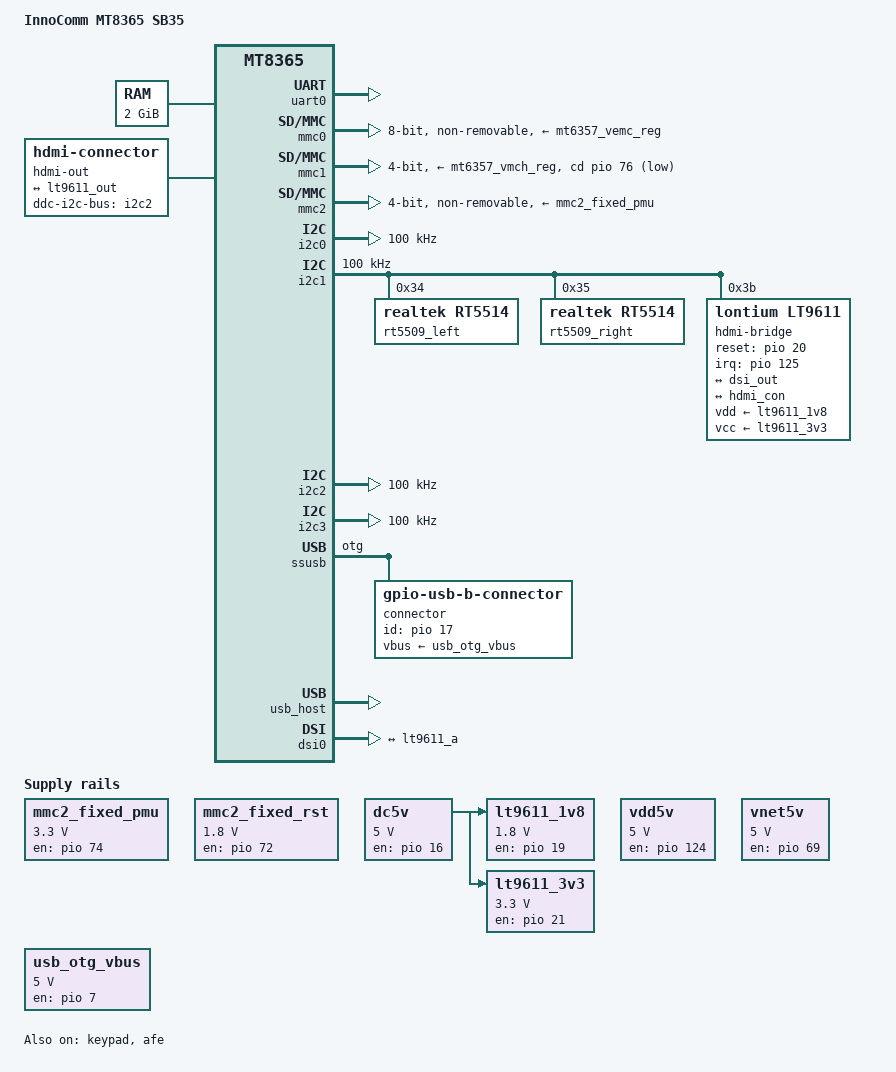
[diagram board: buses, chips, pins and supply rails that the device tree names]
// SPDX-License-Identifier: GPL-2.0
/*
 * Copyright (c) 2020 BayLibre, SAS.
 * Author: Fabien Parent <fparent@baylibre.com>
 */

/dts-v1/;

#include <dt-bindings/gpio/gpio.h>
#include <dt-bindings/input/input.h>
#include <dt-bindings/pinctrl/mt8365-pinfunc.h>
#include "mt8365.dtsi"
#include "mt6357.dtsi"

/ {
	model = "InnoComm MT8365 SB35";
	compatible = "innocomm,sb35", "mediatek,mt8365";

	aliases {
		serial0 = &uart0;
		mmc0 = &mmc0;
		mmc1 = &mmc1;
		mmc2 = &mmc2;
		ethernet0 = &bluetooth;
	};

	memory@40000000 {
		device_type = "memory";
		reg = <0 0x40000000 0 0x80000000>;
	};

	chosen {
		stdout-path = "serial0:921600n8";
	};

	firmware {
		optee {
			compatible = "linaro,optee-tz";
			method = "smc";
		};
	};

	mmc2_fixed_pmu: regulator@0 {
		compatible = "regulator-fixed";
		regulator-name = "mmc2_pmu";
		regulator-min-microvolt = <3300000>;
		regulator-max-microvolt = <3300000>;
		gpio = <&pio 74 0>;
		enable-active-high;
	};

	mmc2_fixed_rst: regulator@1 {
		compatible = "regulator-fixed";
		regulator-name = "mmc2_rst";
		regulator-min-microvolt = <1800000>;
		regulator-max-microvolt = <1800000>;
		gpio = <&pio 72 0>;
		enable-active-high;
	};

	sound: sound {
		compatible = "mediatek,mt8365-sb35";
		mediatek,platform = <&afe>;
		pinctrl-names = "aud_mosi_on",
			"aud_mosi_off",
			"aud_miso_on",
			"aud_miso_off",
			"default",
			"aud_dmic";
		pinctrl-0 = <&aud_pins_mosi_on>;
		pinctrl-1 = <&aud_pins_mosi_off>;
		pinctrl-2 = <&aud_pins_miso_on>;
		pinctrl-3 = <&aud_pins_miso_off>;
		pinctrl-4 = <&aud_pins_default>;
		pinctrl-5 = <&aud_pins_dmic>;
		status = "okay";
	};

	reserved-memory {
		#address-cells = <2>;
		#size-cells = <2>;
		ranges;

		/* 12 MiB reserved for OP-TEE (BL32)
		 * +-----------------------+ 0x43e0_0000
		 * |      SHMEM 2MiB       |
		 * +-----------------------+ 0x43c0_0000
		 * |        | TA_RAM  8MiB |
		 * + TZDRAM +--------------+ 0x4340_0000
		 * |        | TEE_RAM 2MiB |
		 * +-----------------------+ 0x4320_0000
		 */
		optee_reserved: optee@43200000 {
			no-map;
			reg = <0 0x43200000 0 0x00c00000>;
		};
	};

	dc5v: dc5v-regulator {
		compatible = "regulator-fixed";
		regulator-name = "DC5V";
		regulator-min-microvolt = <5000000>;
		regulator-max-microvolt = <5000000>;
		gpio = <&pio 16 GPIO_ACTIVE_HIGH>;
		enable-active-high;
		regulator-always-on;
	};

	vdd5v: vdd5v-regulator {
		compatible = "regulator-fixed";
		regulator-name = "VDD5V";
		regulator-min-microvolt = <5000000>;
		regulator-max-microvolt = <5000000>;
		gpio = <&pio 124 GPIO_ACTIVE_HIGH>;
		enable-active-high;
		regulator-always-on;
	};

	vnet5v: vnet5v-regulator {
		compatible = "regulator-fixed";
		regulator-name = "VNET5V";
		regulator-min-microvolt = <5000000>;
		regulator-max-microvolt = <5000000>;
		gpio = <&pio 69 GPIO_ACTIVE_HIGH>;
		enable-active-high;
		regulator-always-on;
	};

	usb_otg_vbus: usb-otg-vbus-regulator {
		compatible = "regulator-fixed";
		regulator-name = "otg_vbus";
		regulator-min-microvolt = <5000000>;
		regulator-max-microvolt = <5000000>;
		gpio = <&pio 7 GPIO_ACTIVE_HIGH>;
		enable-active-high;
	};

	lt9611_1v8: lt9611-vdd18-regulator {
		compatible = "regulator-fixed";
		regulator-name = "LT9611_1V8";

		vin-supply = <&dc5v>;
		regulator-min-microvolt = <1800000>;
		regulator-max-microvolt = <1800000>;

		gpio = <&pio 19 GPIO_ACTIVE_HIGH>;
		enable-active-high;
	};

	lt9611_3v3: lt9611-3v3 {
		compatible = "regulator-fixed";
		regulator-name = "LT9611_3V3";

		vin-supply = <&dc5v>;
		regulator-min-microvolt = <3300000>;
		regulator-max-microvolt = <3300000>;

		gpio = <&pio 21 GPIO_ACTIVE_HIGH>;
		enable-active-high;
	};

	hdmi-out {
		compatible = "hdmi-connector";
		type = "a";
		ddc-i2c-bus = <&i2c2>;

		port {
			hdmi_con: endpoint {
				remote-endpoint = <&lt9611_out>;
			};
		};
	};
};

&mt6357codec {
	use_hp_depop_flow = <0>; /* select 1: use, 0: not use */
	use_ul_260k = <0>; /* select 1: use, 0: not use */
};

&mt6357_pmic {
	interrupt-parent = <&pio>;
	interrupts = <145 IRQ_TYPE_LEVEL_HIGH>;
	interrupt-controller;
	#interrupt-cells = <2>;
};

&cpu0 {
	proc-supply = <&mt6357_vproc_reg>;
	sram-supply = <&mt6357_vsram_proc_reg>;
};

&cpu1 {
	proc-supply = <&mt6357_vproc_reg>;
	sram-supply = <&mt6357_vsram_proc_reg>;
};

&cpu2 {
	proc-supply = <&mt6357_vproc_reg>;
	sram-supply = <&mt6357_vsram_proc_reg>;
};

&cpu3 {
	proc-supply = <&mt6357_vproc_reg>;
	sram-supply = <&mt6357_vsram_proc_reg>;
};

&mt6357_vrf12_reg {
	regulator-always-on;
};

&mt6357_vaud28_reg {
	regulator-always-on;
};

/* Needed by MSDC1 */
&mt6357_vmc_reg {
	regulator-always-on;
};

&uart0 {
	status = "okay";
};

&mmc0 {
	status = "okay";
	pinctrl-names = "default", "state_uhs";
	pinctrl-0 = <&mmc0_pins_default>;
	pinctrl-1 = <&mmc0_pins_uhs>;
	bus-width = <8>;
	max-frequency = <200000000>;
	cap-mmc-highspeed;
	mmc-hs200-1_8v;
	mmc-hs400-1_8v;
	cap-mmc-hw-reset;
	no-sdio;
	no-sd;
	hs400-ds-delay = <0x12012>;
	vmmc-supply = <&mt6357_vemc_reg>;
	vqmmc-supply = <&mt6357_vio18_reg>;
	assigned-clocks = <&topckgen CLK_TOP_MSDC50_0_SEL>;
	assigned-clock-parents = <&topckgen CLK_TOP_MSDCPLL>;
	non-removable;
};

&mmc1 {
	pinctrl-names = "default", "state_uhs";
	pinctrl-0 = <&mmc1_pins_default>;
	pinctrl-1 = <&mmc1_pins_uhs>;
	cd-gpios = <&pio 76 GPIO_ACTIVE_LOW>;
	bus-width = <4>;
	max-frequency = <200000000>;
	cap-sd-highspeed;
	sd-uhs-sdr50;
	sd-uhs-sdr104;
	vmmc-supply = <&mt6357_vmch_reg>;
	vqmmc-supply = <&mt6357_vio18_reg>;
	status = "okay";
};

&mmc2 {
	pinctrl-names = "default", "state_uhs";
	pinctrl-0 = <&mmc2_pins_default>;
	pinctrl-1 = <&mmc2_pins_uhs>;
	bus-width = <4>;
	max-frequency = <200000000>;
	cap-sd-highspeed;
	sd-uhs-sdr25;
	sd-uhs-sdr50;
	sd-uhs-sdr104;
	keep-power-in-suspend;
	enable-sdio-wakeup;
	cap-sdio-irq;
	hs400-ds-delay = <0x12012>;
	vmmc-supply = <&mmc2_fixed_pmu>;
	vqmmc-supply = <&mmc2_fixed_rst>;
	assigned-clocks = <&topckgen CLK_TOP_MSDC50_2_SEL>;
	assigned-clock-parents = <&topckgen CLK_TOP_MSDCPLL>;
	non-removable;
	status = "okay";

	bluetooth: mt7663-bt {
		mac-address = [00 00 00 00 00 00];
		reg = <2>;
	};
};

&i2c0 {
	pinctrl-names = "default";
	pinctrl-0 = <&i2c0_pins>;
	clock-frequency = <100000>;
	#address-cells = <1>;
	#size-cells = <0>;
	status = "okay";
};

&i2c1 {
	pinctrl-names = "default";
	pinctrl-0 = <&i2c1_pins>;
	clock-frequency = <100000>;
	status = "okay";

	rt5509_left: codec@34 {
		compatible = "realtek,rt5514";
		reg = <0x34>;
	};

	rt5509_right: codec@35 {
		compatible = "realtek,rt5514";
		reg = <0x35>;
	};

	hdmi-bridge@3b {
		compatible = "lontium,lt9611";
		reg = <0x3b>;
		pinctrl-0 = <&hdmi_pins>;
		pintctrl-names = "default";

		reset-gpios = <&pio 20 GPIO_ACTIVE_HIGH>;
		interrupts-extended = <&pio 125 IRQ_TYPE_EDGE_FALLING>;

		vdd-supply = <&lt9611_1v8>;
		vcc-supply = <&lt9611_3v3>;

		ports {
			port@0 {
				reg = <0>;
				lt9611_a: endpoint {
					remote-endpoint = <&dsi_out>;
				};
			};

			port@2 {
				reg = <2>;
				lt9611_out: endpoint {
					remote-endpoint = <&hdmi_con>;
				};
			};
		};
	};
};

&i2c2 {
	pinctrl-names = "default";
	pinctrl-0 = <&i2c2_pins>;
	clock-frequency = <100000>;
	status = "okay";
};

&i2c3 {
	pinctrl-names = "default";
	pinctrl-0 = <&i2c3_pins>;
	clock-frequency = <100000>;
	status = "okay";
};

&ssusb {
	pinctrl-0 = <&usb_pins>;
	pinctrl-names = "default";
	maximum-speed = "high-speed";
	usb-role-switch;
	dr_mode = "otg";
	vusb33-supply = <&mt6357_vusb33_reg>;
	status = "okay";

	connector {
		compatible = "gpio-usb-b-connector", "usb-b-connector";
		type = "micro";
		id-gpios = <&pio 17 GPIO_ACTIVE_HIGH>;
		vbus-supply = <&usb_otg_vbus>;
	};
};

&usb_host {
	vusb33-supply = <&mt6357_vusb33_reg>;
	status = "okay";
};

&keypad {
	pinctrl-names = "default";
	pinctrl-0 = <&keypad_pins>;
	mediatek,debounce-us = <32000>;
	keypad,num-rows = <2>;
	keypad,num-columns = <2>;
	linux,keymap = <MATRIX_KEY(0x00, 0x00, KEY_VOLUMEDOWN)
			MATRIX_KEY(0x01, 0x00, KEY_VOLUMEUP)
			MATRIX_KEY(0x00, 0x01, KEY_BACK)
			MATRIX_KEY(0x01, 0x01, KEY_MENU)>;
	status = "okay";
};

&dsi0 {
	status = "okay";
	#address-cells = <1>;
	#size-cells = <0>;

	ports {
		port@0 {
			reg = <0>;

			dsi_out: endpoint {
				remote-endpoint = <&lt9611_a>;
				data-lanes = <0 1 2 3>;
			};
		};
	};
};

&pio {
	mmc0_pins_default: mmc0default {
		pins_cmd_dat {
			pinmux = <MT8365_PIN_103_MSDC0_DAT0__FUNC_MSDC0_DAT0>,
				 <MT8365_PIN_102_MSDC0_DAT1__FUNC_MSDC0_DAT1>,
				 <MT8365_PIN_101_MSDC0_DAT2__FUNC_MSDC0_DAT2>,
				 <MT8365_PIN_100_MSDC0_DAT3__FUNC_MSDC0_DAT3>,
				 <MT8365_PIN_96_MSDC0_DAT4__FUNC_MSDC0_DAT4>,
				 <MT8365_PIN_95_MSDC0_DAT5__FUNC_MSDC0_DAT5>,
				 <MT8365_PIN_94_MSDC0_DAT6__FUNC_MSDC0_DAT6>,
				 <MT8365_PIN_93_MSDC0_DAT7__FUNC_MSDC0_DAT7>,
				 <MT8365_PIN_98_MSDC0_CMD__FUNC_MSDC0_CMD>;
			input-enable;
			bias-pull-up;
		};

		pins_clk {
			pinmux = <MT8365_PIN_99_MSDC0_CLK__FUNC_MSDC0_CLK>;
			bias-pull-down;
		};

		pins_rst {
			pinmux = <MT8365_PIN_97_MSDC0_RSTB__FUNC_MSDC0_RSTB>;
			bias-pull-up;
		};
	};

	mmc0_pins_uhs: mmc0@0{
		pins_cmd_dat {
			pinmux = <MT8365_PIN_103_MSDC0_DAT0__FUNC_MSDC0_DAT0>,
				 <MT8365_PIN_102_MSDC0_DAT1__FUNC_MSDC0_DAT1>,
				 <MT8365_PIN_101_MSDC0_DAT2__FUNC_MSDC0_DAT2>,
				 <MT8365_PIN_100_MSDC0_DAT3__FUNC_MSDC0_DAT3>,
				 <MT8365_PIN_96_MSDC0_DAT4__FUNC_MSDC0_DAT4>,
				 <MT8365_PIN_95_MSDC0_DAT5__FUNC_MSDC0_DAT5>,
				 <MT8365_PIN_94_MSDC0_DAT6__FUNC_MSDC0_DAT6>,
				 <MT8365_PIN_93_MSDC0_DAT7__FUNC_MSDC0_DAT7>,
				 <MT8365_PIN_98_MSDC0_CMD__FUNC_MSDC0_CMD>;
			input-enable;
			drive-strength = <MTK_DRIVE_10mA>;
			bias-pull-up = <MTK_PUPD_SET_R1R0_01>;
		};

		pins_clk {
			pinmux = <MT8365_PIN_99_MSDC0_CLK__FUNC_MSDC0_CLK>;
			drive-strength = <MTK_DRIVE_10mA>;
			bias-pull-down = <MTK_PUPD_SET_R1R0_10>;
		};

		pins_ds {
			pinmux = <MT8365_PIN_104_MSDC0_DSL__FUNC_MSDC0_DSL>;
			drive-strength = <MTK_DRIVE_10mA>;
			bias-pull-down = <MTK_PUPD_SET_R1R0_10>;
		};

		pins_rst {
			pinmux = <MT8365_PIN_97_MSDC0_RSTB__FUNC_MSDC0_RSTB>;
			drive-strength = <MTK_DRIVE_10mA>;
			bias-pull-up;
		};
	};

	mmc1_pins_default: mmc1default {
		pins_cmd_dat {
			pinmux = <MT8365_PIN_89_MSDC1_DAT0__FUNC_MSDC1_DAT0>,
				 <MT8365_PIN_90_MSDC1_DAT1__FUNC_MSDC1_DAT1>,
				 <MT8365_PIN_91_MSDC1_DAT2__FUNC_MSDC1_DAT2>,
				 <MT8365_PIN_92_MSDC1_DAT3__FUNC_MSDC1_DAT3>,
				 <MT8365_PIN_87_MSDC1_CMD__FUNC_MSDC1_CMD>;
			input-enable;
			bias-pull-up = <MTK_PUPD_SET_R1R0_01>;
		};

		pins_clk {
			pinmux = <MT8365_PIN_88_MSDC1_CLK__FUNC_MSDC1_CLK>;
			bias-pull-down = <MTK_PUPD_SET_R1R0_10>;
		};

		pin_cd {
			pinmux = <MT8365_PIN_76_CMDAT8__FUNC_GPIO76>;
			bias-pull-up;
		};
	};

	mmc1_pins_uhs: mmc1@0 {
		pins_cmd_dat {
			pinmux = <MT8365_PIN_89_MSDC1_DAT0__FUNC_MSDC1_DAT0>,
				 <MT8365_PIN_90_MSDC1_DAT1__FUNC_MSDC1_DAT1>,
				 <MT8365_PIN_91_MSDC1_DAT2__FUNC_MSDC1_DAT2>,
				 <MT8365_PIN_92_MSDC1_DAT3__FUNC_MSDC1_DAT3>,
				 <MT8365_PIN_87_MSDC1_CMD__FUNC_MSDC1_CMD>;
			input-enable;
			drive-strength = <MTK_DRIVE_6mA>;
			bias-pull-up = <MTK_PUPD_SET_R1R0_01>;
		};

		pins_clk {
			pinmux = <MT8365_PIN_88_MSDC1_CLK__FUNC_MSDC1_CLK>;
			drive-strength = <MTK_DRIVE_8mA>;
			bias-pull-down = <MTK_PUPD_SET_R1R0_10>;
		};
	};

	mmc2_pins_default: mmc2default {
		pins_cmd_dat {
			pinmux = <MT8365_PIN_82_MSDC2_DAT0__FUNC_MSDC2_DAT0>,
				 <MT8365_PIN_83_MSDC2_DAT1__FUNC_MSDC2_DAT1>,
				 <MT8365_PIN_84_MSDC2_DAT2__FUNC_MSDC2_DAT2>,
				 <MT8365_PIN_85_MSDC2_DAT3__FUNC_MSDC2_DAT3>,
				 <MT8365_PIN_80_MSDC2_CMD__FUNC_MSDC2_CMD>;
			input-enable;
			drive-strength = <MTK_DRIVE_4mA>;
			bias-pull-up = <MTK_PUPD_SET_R1R0_01>;
		};

		pins_clk {
			pinmux = <MT8365_PIN_81_MSDC2_CLK__FUNC_MSDC2_CLK>;
			drive-strength = <MTK_DRIVE_4mA>;
			bias-pull-down = <MTK_PUPD_SET_R1R0_10>;
		};

		pins_wifi_pwr_en {
			pinmux = <MT8365_PIN_74_CMDAT6__FUNC_GPIO74>;
			output-high;
		};

		pins_sysrstb_en {
			pinmux = <MT8365_PIN_72_CMDAT4__FUNC_GPIO72>;
			output-low;
		};
	};

	mmc2_pins_uhs: mmc2@0 {
		pins_cmd_dat {
			pinmux = <MT8365_PIN_82_MSDC2_DAT0__FUNC_MSDC2_DAT0>,
				 <MT8365_PIN_83_MSDC2_DAT1__FUNC_MSDC2_DAT1>,
				 <MT8365_PIN_84_MSDC2_DAT2__FUNC_MSDC2_DAT2>,
				 <MT8365_PIN_85_MSDC2_DAT3__FUNC_MSDC2_DAT3>,
				 <MT8365_PIN_80_MSDC2_CMD__FUNC_MSDC2_CMD>;
			input-enable;
			drive-strength = <MTK_DRIVE_8mA>;
			bias-pull-up = <MTK_PUPD_SET_R1R0_01>;
		};

		pin_clk {
			pinmux = <MT8365_PIN_81_MSDC2_CLK__FUNC_MSDC2_CLK>;
			drive-strength = <MTK_DRIVE_8mA>;
			bias-pull-down = <MTK_PUPD_SET_R1R0_10>;
		};

		pin_ds {
			pinmux = <MT8365_PIN_86_MSDC2_DSL__FUNC_MSDC2_DSL>;
			drive-strength = <MTK_DRIVE_8mA>;
			bias-pull-down = <MTK_PUPD_SET_R1R0_10>;
		};

		pins_wifi_pwr_en {
			pinmux = <MT8365_PIN_74_CMDAT6__FUNC_GPIO74>;
			output-high;
		};

		pins_sysrstb_en {
			pinmux = <MT8365_PIN_72_CMDAT4__FUNC_GPIO72>;
			output-high;
		};
	};

	i2c0_pins: i2c0 {
		pins_i2c {
			pinmux = <MT8365_PIN_57_SDA0__FUNC_SDA0_0>,
				 <MT8365_PIN_58_SCL0__FUNC_SCL0_0>;
			mediatek,pull-up-adv = <3>;
			mediatek,drive-strength-adv = <7>;
		};
	};


	i2c1_pins: i2c1 {
		pins_i2c {
			pinmux = <MT8365_PIN_59_SDA1__FUNC_SDA1_0>,
				 <MT8365_PIN_60_SCL1__FUNC_SCL1_0>;
			//mediatek,pull-up-adv = <3>;
			//mediatek,drive-strength-adv = <00>;
			bias-pull-up;
		};
	};

	i2c2_pins: i2c2 {
		pins_i2c {
			pinmux = <MT8365_PIN_61_SDA2__FUNC_SDA2_0>,
				 <MT8365_PIN_62_SCL2__FUNC_SCL2_0>;
			mediatek,pull-up-adv = <3>;
			mediatek,drive-strength-adv = <00>;
		};
	};

	i2c3_pins: i2c3 {
		pins_i2c {
			pinmux = <MT8365_PIN_63_SDA3__FUNC_SDA3_0>,
				 <MT8365_PIN_64_SCL3__FUNC_SCL3_0>;
			mediatek,pull-up-adv = <3>;
			mediatek,drive-strength-adv = <00>;
		};
	};

	usb_pins: usb-pins {
		pin_id {
			pinmux = <MT8365_PIN_17_GPIO17__FUNC_GPIO17>;
			input-enable;
			bias-pull-up;
		};

		pin_hub_5v_en {
			pinmux = <MT8365_PIN_1_GPIO1__FUNC_GPIO1>;
			output-high;
		};

		pin_hub_rst {
			pinmux = <MT8365_PIN_0_GPIO0__FUNC_GPIO0>;
			output-low;
		};

		pin_usb_otg_vbus {
			pinmux = <MT8365_PIN_7_GPIO7__FUNC_GPIO7>;
		};

		pin_ethernet_en {
			pinmux = <MT8365_PIN_69_CMDAT1__FUNC_GPIO69>;
		};

		pin_ethernet_reset {
			pinmux = <MT8365_PIN_13_GPIO13__FUNC_GPIO13>;
			output-low;
		};
	};

	hdmi_pins: hdmi-pins {
		pin_pwr_en {
			pinmux = <MT8365_PIN_4_GPIO4__FUNC_GPIO4>;
			output-high;
		};
	};

	keypad_pins: keypad-pins {
		pins_cols {
			pinmux = <MT8365_PIN_24_KPCOL0__FUNC_KPCOL0>,
				 <MT8365_PIN_25_KPCOL1__FUNC_KPCOL1>;
			input-enable;
			bias-pull-up = <MTK_PUPD_SET_R1R0_01>;
		};

		pins_rows {
			pinmux = <MT8365_PIN_22_KPROW0__FUNC_KPROW0>,
				 <MT8365_PIN_23_KPROW1__FUNC_KPROW1>;
			output-low;
			bias-disable;
		};
	};

	aud_pins_mosi_on: mosion {
		pins_cmd_dat {
		pinmux = <MT8365_PIN_49_AUD_CLK_MOSI__FUNC_AUD_CLK_MOSI>,
			 <MT8365_PIN_50_AUD_SYNC_MOSI__FUNC_AUD_SYNC_MOSI>,
			 <MT8365_PIN_51_AUD_DAT_MOSI0__FUNC_AUD_DAT_MOSI0>,
			 <MT8365_PIN_52_AUD_DAT_MOSI1__FUNC_AUD_DAT_MOSI1>;
		drive-strength = <MTK_DRIVE_6mA>;
		};
	};

	aud_pins_mosi_off: mosioff {
		pins_cmd_dat {
		pinmux = <MT8365_PIN_49_AUD_CLK_MOSI__FUNC_GPIO49>,
			 <MT8365_PIN_50_AUD_SYNC_MOSI__FUNC_GPIO50>,
			 <MT8365_PIN_51_AUD_DAT_MOSI0__FUNC_GPIO51>,
			 <MT8365_PIN_52_AUD_DAT_MOSI1__FUNC_GPIO52>;
		input-enable;
		bias-pull-down;
		drive-strength = <MTK_DRIVE_2mA>;
		};
	};

	aud_pins_miso_on: misoon {
		pins_cmd_dat {
		pinmux = <MT8365_PIN_53_AUD_CLK_MISO__FUNC_AUD_CLK_MISO>,
			 <MT8365_PIN_54_AUD_SYNC_MISO__FUNC_AUD_SYNC_MISO>,
			 <MT8365_PIN_55_AUD_DAT_MISO0__FUNC_AUD_DAT_MISO0>,
			 <MT8365_PIN_56_AUD_DAT_MISO1__FUNC_AUD_DAT_MISO1>;
		drive-strength = <MTK_DRIVE_6mA>;
		};
	};

	aud_pins_miso_off: misooff {
		pins_cmd_dat {
		pinmux = <MT8365_PIN_53_AUD_CLK_MISO__FUNC_GPIO53>,
			 <MT8365_PIN_54_AUD_SYNC_MISO__FUNC_GPIO54>,
			 <MT8365_PIN_55_AUD_DAT_MISO0__FUNC_GPIO55>,
			 <MT8365_PIN_56_AUD_DAT_MISO1__FUNC_GPIO56>;
		input-enable;
		bias-pull-down;
		drive-strength = <MTK_DRIVE_2mA>;
		};
	};

	aud_pins_default: audiodefault {
		pins_cmd_dat {
		pinmux = <MT8365_PIN_129_TDM_TX_BCK__FUNC_I2S3_BCK>,
			 <MT8365_PIN_130_TDM_TX_LRCK__FUNC_I2S3_LRCK>,
			 <MT8365_PIN_131_TDM_TX_MCK__FUNC_I2S3_MCK>,
			 <MT8365_PIN_132_TDM_TX_DATA0__FUNC_I2S3_DO>;
		};
	};

	aud_pins_dmic: audiodmic {
		pins_cmd_dat {
		pinmux = <MT8365_PIN_117_DMIC0_CLK__FUNC_DMIC0_CLK>,
			 <MT8365_PIN_118_DMIC0_DAT0__FUNC_DMIC0_DAT0>,
			 <MT8365_PIN_119_DMIC0_DAT1__FUNC_DMIC0_DAT1>;
		};
	};
};

&afe {
	mediatek,i2s-clock-modes = <0 1>;
	mediatek,dmic-iir-on = <1>;
	mediatek,dmic-irr-mode = <5>;
	mediatek,dmic-two-wire-mode = <1>;
	status = "okay";
};
